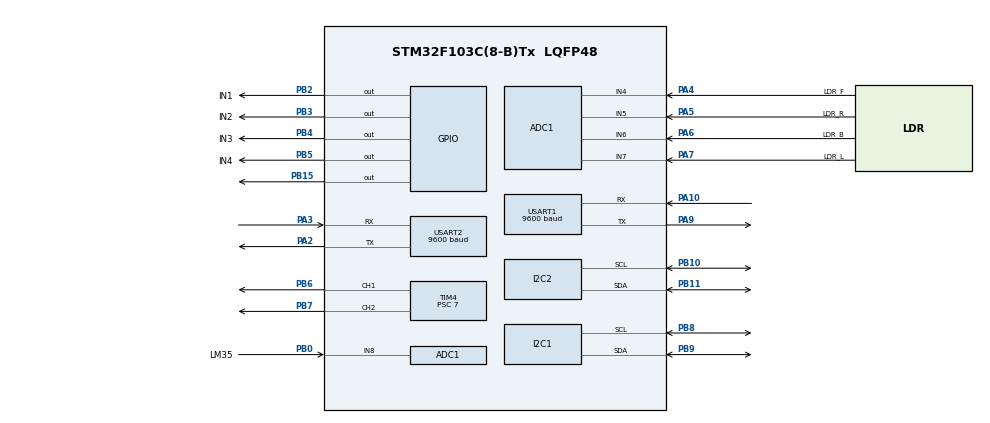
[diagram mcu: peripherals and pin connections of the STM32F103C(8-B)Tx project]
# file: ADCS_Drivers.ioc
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ADC1.NbrOfConversionFlag=1
ADC1.master=1
Mcu.Family=STM32F1
Mcu.Name=STM32F103C(8-B)Tx
Mcu.Package=LQFP48
NVIC.I2C1_ER_IRQn=true\:0\:0\:false\:false\:true\:true\:true\:true
NVIC.I2C1_EV_IRQn=true\:0\:0\:false\:false\:true\:true\:true\:true
NVIC.PriorityGroup=NVIC_PRIORITYGROUP_4
NVIC.TIM1_UP_IRQn=true\:15\:0\:false\:false\:true\:false\:true\:true
NVIC.TimeBase=TIM1_UP_IRQn
NVIC.TimeBaseIP=TIM1
NVIC.USART2_IRQn=true\:0\:0\:false\:false\:true\:true\:true\:true
PA10.Mode=Asynchronous
PA10.Signal=USART1_RX
PA13.Mode=Serial_Wire
PA13.Signal=SYS_JTMS-SWDIO
PA14.Mode=Serial_Wire
PA14.Signal=SYS_JTCK-SWCLK
PA2.Mode=Asynchronous
PA2.Signal=USART2_TX
PA3.Mode=Asynchronous
PA3.Signal=USART2_RX
PA4.GPIO_Label=LDR_F
PA4.Signal=ADCx_IN4
PA5.GPIO_Label=LDR_R
PA5.Signal=ADCx_IN5
PA6.GPIO_Label=LDR_B
PA6.Signal=ADCx_IN6
PA7.GPIO_Label=LDR_L
PA7.Signal=ADCx_IN7
PA9.Mode=Asynchronous
PA9.Signal=USART1_TX
PB0.GPIO_Label=LM35
PB0.Signal=ADCx_IN8
PB10.Mode=I2C
PB10.Signal=I2C2_SCL
PB11.Mode=I2C
PB11.Signal=I2C2_SDA
PB15.Signal=GPIO_Output
PB2.GPIO_Label=IN1
PB2.Signal=GPIO_Output
PB3.GPIO_Label=IN2
PB3.Signal=GPIO_Output
PB4.GPIO_Label=IN3
PB4.Signal=GPIO_Output
PB5.GPIO_Label=IN4
PB5.Signal=GPIO_Output
PB6.Signal=S_TIM4_CH1
PB7.Signal=S_TIM4_CH2
PB8.Mode=I2C
PB8.Signal=I2C1_SCL
PB9.Mode=I2C
PB9.Signal=I2C1_SDA
ProjectManager.HeapSize=0x200
ProjectManager.StackSize=0x400
ProjectManager.TargetToolchain=STM32CubeIDE
RCC.APB1Freq_Value=8000000
RCC.APB2Freq_Value=8000000
SH.ADCx_IN4.0=ADC1_IN4,IN4
SH.ADCx_IN5.0=ADC1_IN5,IN5
SH.ADCx_IN6.0=ADC1_IN6,IN6
SH.ADCx_IN7.0=ADC1_IN7,IN7
SH.ADCx_IN8.0=ADC1_IN8,IN8
SH.S_TIM4_CH1.0=TIM4_CH1,PWM Generation1 CH1
SH.S_TIM4_CH2.0=TIM4_CH2,PWM Generation2 CH2
TIM4.AutoReloadPreload=TIM_AUTORELOAD_PRELOAD_ENABLE
TIM4.Channel-PWM\ Generation1\ CH1=TIM_CHANNEL_1
TIM4.Channel-PWM\ Generation2\ CH2=TIM_CHANNEL_2
TIM4.Period=999
TIM4.Prescaler=7
USART1.BaudRate=9600
USART1.VirtualMode=VM_ASYNC
USART2.BaudRate=9600
USART2.VirtualMode=VM_ASYNC
VP_SYS_VS_tim1.Mode=TIM1
board=custom

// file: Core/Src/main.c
/* USER CODE BEGIN Header */
/**
 ******************************************************************************
 * @file           : main.c
 * @brief          : Main program body
 ******************************************************************************
 * @attention
 *
 * Copyright (c) 2025 STMicroelectronics.
 * All rights reserved.
 *
 * This software is licensed under terms that can be found in the LICENSE file
 * in the root directory of this software component.
 * If no LICENSE file comes with this software, it is provided AS-IS.
 *
 ******************************************************************************
 */
/* USER CODE END Header */
#include "main.h"

/* USER CODE BEGIN Includes */
#include "mpu6050.h"
#include "gps.h"
#include "l298n.h"
#include "ldr.h"
#include "lm35.h"
#include <string.h>
#include <stdio.h>
#include <math.h>
/* USER CODE END Includes */

/* USER CODE BEGIN PD */
#define SENSOR_READ_INTERVAL 1000
/* USER CODE END PD */

ADC_HandleTypeDef hadc1;

I2C_HandleTypeDef hi2c1;
I2C_HandleTypeDef hi2c2;

TIM_HandleTypeDef htim4;

UART_HandleTypeDef huart1;
UART_HandleTypeDef huart2;

/* USER CODE BEGIN PV */
LightSensor_Values ldr_values;
L298N_HandleTypeDef hmotor;
GPS_Handle hgps;
MPU6050_Handle hmpu;
float temperature = 0;
uint32_t last_sensor_read = 0;
char debug_buffer[256];
/* USER CODE END PV */

void SystemClock_Config(void);
static void MX_GPIO_Init(void);
static void MX_ADC1_Init(void);
static void MX_USART1_UART_Init(void);
static void MX_TIM4_Init(void);
static void MX_I2C1_Init(void);
static void MX_I2C2_Init(void);
static void MX_USART2_UART_Init(void);
/* USER CODE BEGIN PFP */
void UART_Print(float value);
void UART_PrintLDRs(LightSensor_Values* values);
void TestMotorDriver(void);
void ReadAndDisplaySensors(void);
/* USER CODE END PFP */

int main(void)
{

  /* MCU Configuration--------------------------------------------------------*/

  /* Reset of all peripherals, Initializes the Flash interface and the Systick. */
  HAL_Init();

  /* Configure the system clock */
  SystemClock_Config();

  /* Initialize all configured peripherals */
  MX_GPIO_Init();
  MX_ADC1_Init();
  MX_USART1_UART_Init();
  MX_TIM4_Init();
  MX_I2C1_Init();
  MX_I2C2_Init();
  MX_USART2_UART_Init();
  /* USER CODE BEGIN 2 */
  LM35_Init(&hadc1);
  LightSensor_Init(&hadc1);

  if (MPU6050_Init(&hmpu, &hi2c1) != MPU6050_OK) {
      char msg[] = "MPU6050 initialization failed!\r\n";
      HAL_UART_Transmit(&huart1, (uint8_t*)msg, strlen(msg), HAL_MAX_DELAY);
      while(1); // Hang if initialization fails
  }

  // Calibrate MPU6050 gyroscope (100 samples)
  if (MPU6050_Calibrate(&hmpu, 100) != MPU6050_OK) {
      char msg[] = "MPU6050 calibration failed!\r\n";
      HAL_UART_Transmit(&huart1, (uint8_t*)msg, strlen(msg), HAL_MAX_DELAY);
  }

  L298N_InitTypeDef motor_init;
  motor_init.htim = &htim4;
  motor_init.channel_a = TIM_CHANNEL_1;
  motor_init.channel_b = TIM_CHANNEL_2;
  motor_init.mode = L298N_DUAL_CHANNEL;
  L298N_Init(&hmotor, &motor_init);

  // Initialize GPS module with UART2
  if (GPS_Init(&hgps, &huart2) != GPS_OK) {
    char msg[] = "GPS initialization failed!\r\n";
    HAL_UART_Transmit(&huart1, (uint8_t*)msg, strlen(msg), HAL_MAX_DELAY);
    while(1); // Hang if initialization fails
  }

  char msg[] = "System initialized. Starting main loop...\r\n";
  HAL_UART_Transmit(&huart1, (uint8_t*)msg, strlen(msg), HAL_MAX_DELAY);

  /* USER CODE END 2 */

  /* Infinite loop */
  /* USER CODE BEGIN WHILE */
	while (1) {
		   uint32_t current_time = HAL_GetTick();

		    // Process GPS data continuously
		    GPS_Process(&hgps);

		    // Print GPS data using GPS_DebugPrint
		    if (current_time - last_sensor_read >= SENSOR_READ_INTERVAL) {
		        last_sensor_read = current_time;

		        // Print GPS information via debug print
		        GPS_DebugPrint(&hgps, &huart1);

		        // Read and display other sensors
		        ReadAndDisplaySensors();

		        // Blink LED to show activity
		        HAL_GPIO_TogglePin(LED_GPIO_Port, LED_Pin);

		        // Print separator
		        char separator[] = "----------------------------------\r\n";
		        HAL_UART_Transmit(&huart1, (uint8_t*)separator, strlen(separator), 100);
		    }

		    HAL_Delay(10);
    /* USER CODE END WHILE */

	}
}

void SystemClock_Config(void)
{
  RCC_OscInitTypeDef RCC_OscInitStruct = {0};
  RCC_ClkInitTypeDef RCC_ClkInitStruct = {0};
  RCC_PeriphCLKInitTypeDef PeriphClkInit = {0};

  /** Initializes the RCC Oscillators according to the specified parameters
  * in the RCC_OscInitTypeDef structure.
  */
  RCC_OscInitStruct.OscillatorType = RCC_OSCILLATORTYPE_HSI;
  RCC_OscInitStruct.HSIState = RCC_HSI_ON;
  RCC_OscInitStruct.HSICalibrationValue = RCC_HSICALIBRATION_DEFAULT;
  RCC_OscInitStruct.PLL.PLLState = RCC_PLL_NONE;
  if (HAL_RCC_OscConfig(&RCC_OscInitStruct) != HAL_OK)
  {
    Error_Handler();
  }

  /** Initializes the CPU, AHB and APB buses clocks
  */
  RCC_ClkInitStruct.ClockType = RCC_CLOCKTYPE_HCLK|RCC_CLOCKTYPE_SYSCLK
                              |RCC_CLOCKTYPE_PCLK1|RCC_CLOCKTYPE_PCLK2;
  RCC_ClkInitStruct.SYSCLKSource = RCC_SYSCLKSOURCE_HSI;
  RCC_ClkInitStruct.AHBCLKDivider = RCC_SYSCLK_DIV1;
  RCC_ClkInitStruct.APB1CLKDivider = RCC_HCLK_DIV1;
  RCC_ClkInitStruct.APB2CLKDivider = RCC_HCLK_DIV1;

  if (HAL_RCC_ClockConfig(&RCC_ClkInitStruct, FLASH_LATENCY_0) != HAL_OK)
  {
    Error_Handler();
  }
  PeriphClkInit.PeriphClockSelection = RCC_PERIPHCLK_ADC;
  PeriphClkInit.AdcClockSelection = RCC_ADCPCLK2_DIV2;
  if (HAL_RCCEx_PeriphCLKConfig(&PeriphClkInit) != HAL_OK)
  {
    Error_Handler();
  }
}

static void MX_ADC1_Init(void)
{

  /** Common config
  */
  hadc1.Instance = ADC1;
  hadc1.Init.ScanConvMode = ADC_SCAN_DISABLE;
  hadc1.Init.ContinuousConvMode = DISABLE;
  hadc1.Init.DiscontinuousConvMode = DISABLE;
  hadc1.Init.ExternalTrigConv = ADC_SOFTWARE_START;
  hadc1.Init.DataAlign = ADC_DATAALIGN_RIGHT;
  hadc1.Init.NbrOfConversion = 1;
  if (HAL_ADC_Init(&hadc1) != HAL_OK)
  {
    Error_Handler();
  }

}

static void MX_I2C1_Init(void)
{

  hi2c1.Instance = I2C1;
  hi2c1.Init.ClockSpeed = 100000;
  hi2c1.Init.DutyCycle = I2C_DUTYCYCLE_2;
  hi2c1.Init.OwnAddress1 = 0;
  hi2c1.Init.AddressingMode = I2C_ADDRESSINGMODE_7BIT;
  hi2c1.Init.DualAddressMode = I2C_DUALADDRESS_DISABLE;
  hi2c1.Init.OwnAddress2 = 0;
  hi2c1.Init.GeneralCallMode = I2C_GENERALCALL_DISABLE;
  hi2c1.Init.NoStretchMode = I2C_NOSTRETCH_DISABLE;
  if (HAL_I2C_Init(&hi2c1) != HAL_OK)
  {
    Error_Handler();
  }

}

static void MX_I2C2_Init(void)
{

  hi2c2.Instance = I2C2;
  hi2c2.Init.ClockSpeed = 100000;
  hi2c2.Init.DutyCycle = I2C_DUTYCYCLE_2;
  hi2c2.Init.OwnAddress1 = 0;
  hi2c2.Init.AddressingMode = I2C_ADDRESSINGMODE_7BIT;
  hi2c2.Init.DualAddressMode = I2C_DUALADDRESS_DISABLE;
  hi2c2.Init.OwnAddress2 = 0;
  hi2c2.Init.GeneralCallMode = I2C_GENERALCALL_DISABLE;
  hi2c2.Init.NoStretchMode = I2C_NOSTRETCH_DISABLE;
  if (HAL_I2C_Init(&hi2c2) != HAL_OK)
  {
    Error_Handler();
  }

}

static void MX_TIM4_Init(void)
{

  TIM_MasterConfigTypeDef sMasterConfig = {0};
  TIM_OC_InitTypeDef sConfigOC = {0};

  htim4.Instance = TIM4;
  htim4.Init.Prescaler = 7;
  htim4.Init.CounterMode = TIM_COUNTERMODE_UP;
  htim4.Init.Period = 999;
  htim4.Init.ClockDivision = TIM_CLOCKDIVISION_DIV1;
  htim4.Init.AutoReloadPreload = TIM_AUTORELOAD_PRELOAD_ENABLE;
  if (HAL_TIM_PWM_Init(&htim4) != HAL_OK)
  {
    Error_Handler();
  }
  sMasterConfig.MasterOutputTrigger = TIM_TRGO_RESET;
  sMasterConfig.MasterSlaveMode = TIM_MASTERSLAVEMODE_DISABLE;
  if (HAL_TIMEx_MasterConfigSynchronization(&htim4, &sMasterConfig) != HAL_OK)
  {
    Error_Handler();
  }
  sConfigOC.OCMode = TIM_OCMODE_PWM1;
  sConfigOC.Pulse = 0;
  sConfigOC.OCPolarity = TIM_OCPOLARITY_HIGH;
  sConfigOC.OCFastMode = TIM_OCFAST_DISABLE;
  if (HAL_TIM_PWM_ConfigChannel(&htim4, &sConfigOC, TIM_CHANNEL_1) != HAL_OK)
  {
    Error_Handler();
  }
  if (HAL_TIM_PWM_ConfigChannel(&htim4, &sConfigOC, TIM_CHANNEL_2) != HAL_OK)
  {
    Error_Handler();
  }
  HAL_TIM_MspPostInit(&htim4);

}

static void MX_USART1_UART_Init(void)
{

  huart1.Instance = USART1;
  huart1.Init.BaudRate = 9600;
  huart1.Init.WordLength = UART_WORDLENGTH_8B;
  huart1.Init.StopBits = UART_STOPBITS_1;
  huart1.Init.Parity = UART_PARITY_NONE;
  huart1.Init.Mode = UART_MODE_TX_RX;
  huart1.Init.HwFlowCtl = UART_HWCONTROL_NONE;
  huart1.Init.OverSampling = UART_OVERSAMPLING_16;
  if (HAL_UART_Init(&huart1) != HAL_OK)
  {
    Error_Handler();
  }

}

static void MX_USART2_UART_Init(void)
{

  huart2.Instance = USART2;
  huart2.Init.BaudRate = 9600;
  huart2.Init.WordLength = UART_WORDLENGTH_8B;
  huart2.Init.StopBits = UART_STOPBITS_1;
  huart2.Init.Parity = UART_PARITY_NONE;
  huart2.Init.Mode = UART_MODE_TX_RX;
  huart2.Init.HwFlowCtl = UART_HWCONTROL_NONE;
  huart2.Init.OverSampling = UART_OVERSAMPLING_16;
  if (HAL_UART_Init(&huart2) != HAL_OK)
  {
    Error_Handler();
  }

}

static void MX_GPIO_Init(void)
{
  GPIO_InitTypeDef GPIO_InitStruct = {0};

  /* GPIO Ports Clock Enable */
  __HAL_RCC_GPIOA_CLK_ENABLE();
  __HAL_RCC_GPIOB_CLK_ENABLE();

  /*Configure GPIO pin Output Level */
  HAL_GPIO_WritePin(GPIOB, IN1_Pin|GPIO_PIN_15|IN2_Pin|IN3_Pin
                          |IN4_Pin, GPIO_PIN_RESET);

  /*Configure GPIO pins : IN1_Pin PB15 IN2_Pin IN3_Pin
                           IN4_Pin */
  GPIO_InitStruct.Pin = IN1_Pin|GPIO_PIN_15|IN2_Pin|IN3_Pin
                          |IN4_Pin;
  GPIO_InitStruct.Mode = GPIO_MODE_OUTPUT_PP;
  GPIO_InitStruct.Pull = GPIO_NOPULL;
  GPIO_InitStruct.Speed = GPIO_SPEED_FREQ_LOW;
  HAL_GPIO_Init(GPIOB, &GPIO_InitStruct);

}

/* USER CODE BEGIN 4 */
void UART_Print(float value) {
    char buffer[32];
    int length = snprintf(buffer, sizeof(buffer), "Temperature: %.2fC\r\n", value);
    HAL_UART_Transmit(&huart1, (uint8_t*)buffer, length, HAL_MAX_DELAY);
}

void UART_PrintLDRs(LightSensor_Values* values) {
    char buffer[64];
    int length = snprintf(buffer, sizeof(buffer),
        "LDRs - Front: %4u Right: %4u Back: %4u Left: %4u\r\n",
        values->front, values->right, values->back, values->left);
    HAL_UART_Transmit(&huart1, (uint8_t*)buffer, length, HAL_MAX_DELAY);
}

/* UART RX callback for GPS module */
void HAL_UART_RxCpltCallback(UART_HandleTypeDef *huart)
{
  if (huart->Instance == USART2) {
    GPS_UART_RxCpltCallback(&hgps);
  }
}

void ReadAndDisplaySensors(void)
{
    // Read and display temperature
    temperature = LM35_ReadTemperature(&hadc1);
    UART_Print(temperature);

    // Read and display all LDR values
    LightSensor_ReadAll(&hadc1, &ldr_values);
    UART_PrintLDRs(&ldr_values);

    // Read and display MPU6050 data
    if (MPU6050_ReadAllData(&hmpu) == MPU6050_OK) {
        MPU6050_Print(&hmpu, &huart1);
    } else {
        char msg[] = "Failed to read MPU6050 data!\r\n";
        HAL_UART_Transmit(&huart1, (uint8_t*)msg, strlen(msg), HAL_MAX_DELAY);
    }
}

void TestMotorDriver(void)
{
  char buffer[64];
  int length;

  // Print test start message
  length = snprintf(buffer, sizeof(buffer), "Starting Motor Driver Test\r\n");
  HAL_UART_Transmit(&huart1, (uint8_t*)buffer, length, HAL_MAX_DELAY);

  // Test 1: Motor A Forward
  length = snprintf(buffer, sizeof(buffer), "Test 1: Motor A Forward\r\n");
  HAL_UART_Transmit(&huart1, (uint8_t*)buffer, length, HAL_MAX_DELAY);
  L298N_SetDirection(&hmotor, MOTOR_A, MOTOR_FORWARD);
  L298N_SetSpeed(&hmotor, MOTOR_A, 50);  // 50% speed
  HAL_Delay(2000);  // Run for 2 seconds
  L298N_StopMotor(&hmotor, MOTOR_A);
  HAL_Delay(1000);  // Pause between tests

  // Test 2: Motor A Backward
  length = snprintf(buffer, sizeof(buffer), "Test 2: Motor A Backward\r\n");
  HAL_UART_Transmit(&huart1, (uint8_t*)buffer, length, HAL_MAX_DELAY);
  L298N_SetDirection(&hmotor, MOTOR_A, MOTOR_BACKWARD);
  L298N_SetSpeed(&hmotor, MOTOR_A, 50);
  HAL_Delay(2000);
  L298N_StopMotor(&hmotor, MOTOR_A);
  HAL_Delay(1000);

  // Test 3: Motor B Forward
  length = snprintf(buffer, sizeof(buffer), "Test 3: Motor B Forward\r\n");
  HAL_UART_Transmit(&huart1, (uint8_t*)buffer, length, HAL_MAX_DELAY);
  L298N_SetDirection(&hmotor, MOTOR_B, MOTOR_FORWARD);
  L298N_SetSpeed(&hmotor, MOTOR_B, 50);
  HAL_Delay(2000);
  L298N_StopMotor(&hmotor, MOTOR_B);
  HAL_Delay(1000);

  // Test 4: Motor B Backward
  length = snprintf(buffer, sizeof(buffer), "Test 4: Motor B Backward\r\n");
  HAL_UART_Transmit(&huart1, (uint8_t*)buffer, length, HAL_MAX_DELAY);
  L298N_SetDirection(&hmotor, MOTOR_B, MOTOR_BACKWARD);
  L298N_SetSpeed(&hmotor, MOTOR_B, 50);
  HAL_Delay(2000);
  L298N_StopMotor(&hmotor, MOTOR_B);
  HAL_Delay(1000);

  // Test complete
  length = snprintf(buffer, sizeof(buffer), "Motor Driver Test Complete\r\n");
  HAL_UART_Transmit(&huart1, (uint8_t*)buffer, length, HAL_MAX_DELAY);
}
/* USER CODE END 4 */

void HAL_TIM_PeriodElapsedCallback(TIM_HandleTypeDef *htim)
{
  if (htim->Instance == TIM1) {
    HAL_IncTick();
  }
}

void Error_Handler(void)
{
	__disable_irq();
	while (1) {
	}
}
